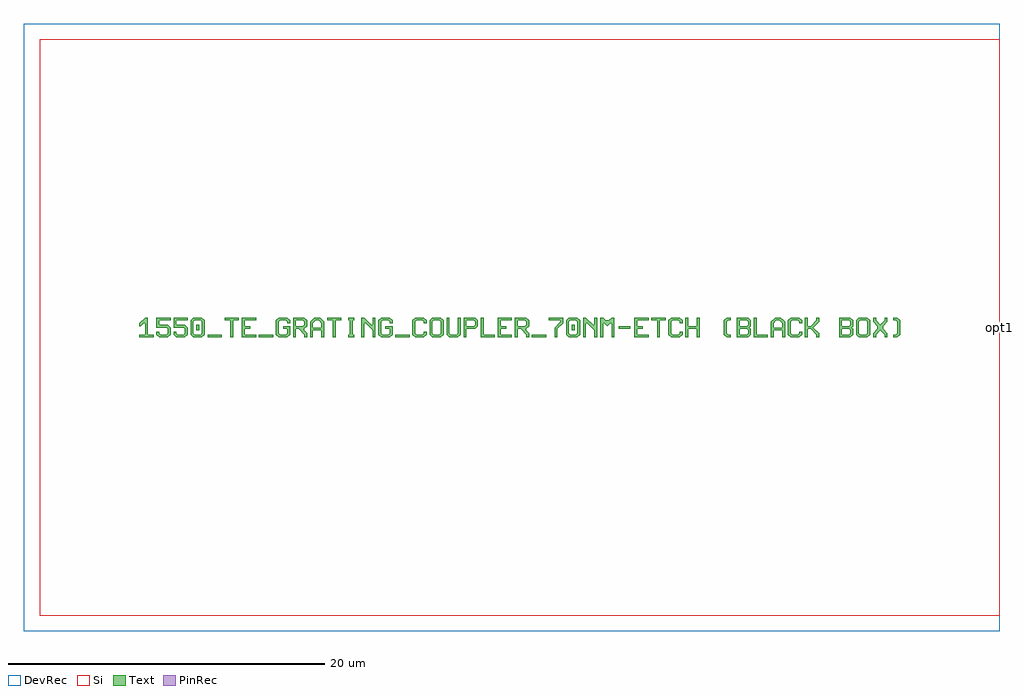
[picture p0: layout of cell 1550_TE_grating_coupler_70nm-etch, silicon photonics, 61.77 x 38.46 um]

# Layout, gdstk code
import gdstk
lib = gdstk.Library(unit=1e-6, precision=1e-09)
def R(c, l, rs):  # rectangles x0, y0, x1, y1
    for r in rs: c.add(gdstk.rectangle(r[:2], r[2:], *l))
def A(c, l, x, y, w, h, nx, ny, dx, dy):  # array of equal rectangles
    R(c, l, [(x+i*dx, y+j*dy, x+i*dx+w, y+j*dy+h) for i in range(nx) for j in range(ny)])
def P(c, l, *ps):  # polygons
    for p in ps: c.add(gdstk.Polygon(p, *l))
Si = (1, 0)
PinRec = (1, 10)
Text = (10, 0)
DevRec = (68, 0)

text = lib.new_cell('TEXT')
A(text, Text, 7.56, 0, 0.9, 0.18, 3, 1, 8.64, 0)
R(text, Text, [(4.32,0,5.22,0.18), (3.6,0.45,3.78,0.81), (27.36,0.45,27.54,0.81), (30.33,0.54,31.05,0.72)])
P(text, Text, [(0,0),(0,0.18),(0.36,0.18),(0.36,0.9),(0.27,0.9),(0.09,0.72),(0,0.72),(0,0.9),(0.36,1.26),(0.54,1.26),(0.54,0.18),(0.9,0.18),(0.9,0)],
  [(1.26,0),(1.08,0.18),(1.08,0.36),(1.26,0.36),(1.26,0.27),(1.35,0.18),(1.71,0.18),(1.8,0.27),(1.8,0.54),(1.71,0.63),(1.08,0.63),(1.08,1.26),(1.98,1.26),(1.98,1.08),(1.26,1.08),(1.26,0.81),(1.8,0.81),(1.98,0.63),(1.98,0.18),(1.8,0)],
  [(2.34,0),(2.16,0.18),(2.16,0.36),(2.34,0.36),(2.34,0.27),(2.43,0.18),(2.79,0.18),(2.88,0.27),(2.88,0.54),(2.79,0.63),(2.16,0.63),(2.16,1.26),(3.06,1.26),(3.06,1.08),(2.34,1.08),(2.34,0.81),(2.88,0.81),(3.06,0.63),(3.06,0.18),(2.88,0)],
  [(3.42,0),(3.24,0.18),(3.24,1.08),(3.42,1.26),(3.96,1.26),(4.14,1.08),(3.51,1.08),(3.42,0.99),(3.42,0.27),(3.51,0.18),(3.87,0.18),(3.96,0.27),(3.96,0.99),(3.87,1.08),(4.14,1.08),(4.14,0.18),(3.96,0)],
  [(5.76,0),(5.76,1.08),(5.4,1.08),(5.4,1.26),(6.3,1.26),(6.3,1.08),(5.94,1.08),(5.94,0)],
  [(6.48,0),(6.48,1.26),(7.38,1.26),(7.38,1.08),(6.66,1.08),(6.66,0.72),(7.02,0.72),(7.02,0.54),(6.66,0.54),(6.66,0.18),(7.38,0.18),(7.38,0)],
  [(8.82,0),(8.64,0.18),(8.64,1.08),(8.82,1.26),(9.36,1.26),(9.54,1.08),(9.54,0.9),(9.36,0.9),(9.36,0.99),(9.27,1.08),(8.91,1.08),(8.82,0.99),(8.82,0.27),(8.91,0.18),(9.27,0.18),(9.36,0.27),(9.36,0.54),(9.09,0.54),(9.09,0.72),(9.54,0.72),(9.54,0.18),(9.36,0)],
  [(9.72,0),(9.72,1.26),(10.44,1.26),(10.62,1.08),(9.9,1.08),(9.9,0.72),(10.35,0.72),(10.44,0.81),(10.44,0.99),(10.35,1.08),(10.62,1.08),(10.62,0.72),(10.44,0.54),(10.44,0.45),(10.62,0.27),(10.62,0),(10.44,0),(10.44,0.18),(10.08,0.54),(9.9,0.54),(9.9,0)],
  [(10.8,0),(10.8,0.99),(11.07,1.26),(11.43,1.26),(11.61,1.08),(11.16,1.08),(10.98,0.9),(10.98,0.63),(11.52,0.63),(11.52,0.9),(11.34,1.08),(11.61,1.08),(11.7,0.99),(11.7,0),(11.52,0),(11.52,0.45),(10.98,0.45),(10.98,0)],
  [(12.24,0),(12.24,1.08),(11.88,1.08),(11.88,1.26),(12.78,1.26),(12.78,1.08),(12.42,1.08),(12.42,0)],
  [(13.23,0),(13.23,0.18),(13.32,0.18),(13.32,1.08),(13.23,1.08),(13.23,1.26),(13.59,1.26),(13.59,1.08),(13.5,1.08),(13.5,0.18),(13.59,0.18),(13.59,0)],
  [(14.04,0),(14.04,1.26),(14.22,1.26),(14.67,0.81),(14.76,0.81),(14.76,1.26),(14.94,1.26),(14.94,0),(14.76,0),(14.76,0.45),(14.31,0.9),(14.22,0.9),(14.22,0)],
  [(15.3,0),(15.12,0.18),(15.12,1.08),(15.3,1.26),(15.84,1.26),(16.02,1.08),(16.02,0.9),(15.84,0.9),(15.84,0.99),(15.75,1.08),(15.39,1.08),(15.3,0.99),(15.3,0.27),(15.39,0.18),(15.75,0.18),(15.84,0.27),(15.84,0.54),(15.57,0.54),(15.57,0.72),(16.02,0.72),(16.02,0.18),(15.84,0)],
  [(17.46,0),(17.28,0.18),(17.28,1.08),(17.46,1.26),(18,1.26),(18.18,1.08),(18.18,0.9),(18,0.9),(18,0.99),(17.91,1.08),(17.55,1.08),(17.46,0.99),(17.46,0.27),(17.55,0.18),(17.91,0.18),(18,0.27),(18,0.36),(18.18,0.36),(18.18,0.18),(18,0)],
  [(18.54,0),(18.36,0.18),(18.36,1.08),(18.54,1.26),(19.08,1.26),(19.26,1.08),(19.26,0.63),(19.08,0.63),(19.08,0.99),(18.99,1.08),(18.63,1.08),(18.54,0.99),(18.54,0.27),(18.63,0.18),(18.99,0.18),(19.08,0.27),(19.08,0.63),(19.26,0.63),(19.26,0.18),(19.08,0)],
  [(19.62,0),(19.44,0.18),(19.44,1.26),(19.62,1.26),(19.62,0.27),(19.71,0.18),(20.07,0.18),(20.16,0.27),(20.16,1.26),(20.34,1.26),(20.34,0.18),(20.16,0)],
  [(20.52,0),(20.52,1.26),(21.24,1.26),(21.42,1.08),(21.42,0.72),(21.24,0.54),(20.7,0.54),(20.7,0.72),(21.15,0.72),(21.24,0.81),(21.24,0.99),(21.15,1.08),(20.7,1.08),(20.7,0)],
  [(21.6,0),(21.6,1.26),(21.78,1.26),(21.78,0.18),(22.5,0.18),(22.5,0)],
  [(22.68,0),(22.68,1.26),(23.58,1.26),(23.58,1.08),(22.86,1.08),(22.86,0.72),(23.22,0.72),(23.22,0.54),(22.86,0.54),(22.86,0.18),(23.58,0.18),(23.58,0)],
  [(23.76,0),(23.76,1.26),(24.48,1.26),(24.66,1.08),(23.94,1.08),(23.94,0.72),(24.39,0.72),(24.48,0.81),(24.48,0.99),(24.39,1.08),(24.66,1.08),(24.66,0.72),(24.48,0.54),(24.48,0.45),(24.66,0.27),(24.66,0),(24.48,0),(24.48,0.18),(24.12,0.54),(23.94,0.54),(23.94,0)],
  [(26.28,0),(26.28,0.63),(26.64,0.99),(26.64,1.08),(25.92,1.08),(25.92,1.26),(26.82,1.26),(26.82,0.9),(26.46,0.54),(26.46,0)],
  [(27.18,0),(27,0.18),(27,1.08),(27.18,1.26),(27.72,1.26),(27.9,1.08),(27.27,1.08),(27.18,0.99),(27.18,0.27),(27.27,0.18),(27.63,0.18),(27.72,0.27),(27.72,0.99),(27.63,1.08),(27.9,1.08),(27.9,0.18),(27.72,0)],
  [(28.08,0),(28.08,1.26),(28.26,1.26),(28.71,0.81),(28.8,0.81),(28.8,1.26),(28.98,1.26),(28.98,0),(28.8,0),(28.8,0.45),(28.35,0.9),(28.26,0.9),(28.26,0)],
  [(29.16,0),(29.16,1.26),(29.34,1.26),(29.52,1.08),(29.7,1.08),(29.88,1.26),(30.06,1.26),(30.06,0),(29.88,0),(29.88,0.9),(29.79,0.9),(29.61,0.72),(29.43,0.9),(29.34,0.9),(29.34,0)],
  [(31.32,0),(31.32,1.26),(32.22,1.26),(32.22,1.08),(31.5,1.08),(31.5,0.72),(31.86,0.72),(31.86,0.54),(31.5,0.54),(31.5,0.18),(32.22,0.18),(32.22,0)],
  [(32.76,0),(32.76,1.08),(32.4,1.08),(32.4,1.26),(33.3,1.26),(33.3,1.08),(32.94,1.08),(32.94,0)],
  [(33.66,0),(33.48,0.18),(33.48,1.08),(33.66,1.26),(34.2,1.26),(34.38,1.08),(34.38,0.9),(34.2,0.9),(34.2,0.99),(34.11,1.08),(33.75,1.08),(33.66,0.99),(33.66,0.27),(33.75,0.18),(34.11,0.18),(34.2,0.27),(34.2,0.36),(34.38,0.36),(34.38,0.18),(34.2,0)],
  [(34.56,0),(34.56,1.26),(34.74,1.26),(34.74,0.72),(35.28,0.72),(35.28,1.26),(35.46,1.26),(35.46,0),(35.28,0),(35.28,0.54),(34.74,0.54),(34.74,0)],
  [(37.17,0),(36.99,0.18),(36.99,1.08),(37.17,1.26),(37.44,1.26),(37.44,1.08),(37.26,1.08),(37.17,0.99),(37.17,0.27),(37.26,0.18),(37.44,0.18),(37.44,0)],
  [(37.8,0),(37.8,1.26),(38.52,1.26),(38.7,1.08),(37.98,1.08),(37.98,0.72),(38.43,0.72),(38.52,0.81),(38.52,0.99),(38.43,1.08),(38.7,1.08),(38.7,0.72),(38.61,0.63),(38.7,0.54),(37.98,0.54),(37.98,0.18),(38.43,0.18),(38.52,0.27),(38.52,0.45),(38.43,0.54),(38.7,0.54),(38.7,0.18),(38.52,0)],
  [(38.88,0),(38.88,1.26),(39.06,1.26),(39.06,0.18),(39.78,0.18),(39.78,0)],
  [(39.96,0),(39.96,0.99),(40.23,1.26),(40.59,1.26),(40.77,1.08),(40.32,1.08),(40.14,0.9),(40.14,0.63),(40.68,0.63),(40.68,0.9),(40.5,1.08),(40.77,1.08),(40.86,0.99),(40.86,0),(40.68,0),(40.68,0.45),(40.14,0.45),(40.14,0)],
  [(41.22,0),(41.04,0.18),(41.04,1.08),(41.22,1.26),(41.76,1.26),(41.94,1.08),(41.94,0.9),(41.76,0.9),(41.76,0.99),(41.67,1.08),(41.31,1.08),(41.22,0.99),(41.22,0.27),(41.31,0.18),(41.67,0.18),(41.76,0.27),(41.76,0.36),(41.94,0.36),(41.94,0.18),(41.76,0)],
  [(42.12,0),(42.12,1.26),(42.3,1.26),(42.3,0.72),(42.48,0.72),(42.84,1.08),(42.84,1.26),(43.02,1.26),(43.02,0.99),(42.66,0.63),(43.02,0.27),(43.02,0),(42.84,0),(42.84,0.18),(42.48,0.54),(42.3,0.54),(42.3,0)],
  [(44.28,0),(44.28,1.26),(45,1.26),(45.18,1.08),(44.46,1.08),(44.46,0.72),(44.91,0.72),(45,0.81),(45,0.99),(44.91,1.08),(45.18,1.08),(45.18,0.72),(45.09,0.63),(45.18,0.54),(44.46,0.54),(44.46,0.18),(44.91,0.18),(45,0.27),(45,0.45),(44.91,0.54),(45.18,0.54),(45.18,0.18),(45,0)],
  [(45.54,0),(45.36,0.18),(45.36,1.08),(45.54,1.26),(46.08,1.26),(46.26,1.08),(46.26,0.63),(46.08,0.63),(46.08,0.99),(45.99,1.08),(45.63,1.08),(45.54,0.99),(45.54,0.27),(45.63,0.18),(45.99,0.18),(46.08,0.27),(46.08,0.63),(46.26,0.63),(46.26,0.18),(46.08,0)],
  [(46.44,0),(46.44,0.27),(46.71,0.54),(46.71,0.72),(46.44,0.99),(46.44,1.26),(46.62,1.26),(46.62,1.08),(46.89,0.81),(47.16,1.08),(47.16,1.26),(47.34,1.26),(47.34,0.99),(47.07,0.72),(47.07,0.54),(47.34,0.27),(47.34,0),(47.16,0),(47.16,0.18),(46.89,0.45),(46.62,0.18),(46.62,0)],
  [(47.7,0),(47.7,0.18),(47.88,0.18),(47.97,0.27),(47.97,0.99),(47.88,1.08),(47.7,1.08),(47.7,1.26),(47.97,1.26),(48.15,1.08),(48.15,0.18),(47.97,0)])

c_1550_te_grating_coupler_ = lib.new_cell('1550_TE_grating_coupler_70nm-etch')
R(c_1550_te_grating_coupler_, Si, [(-31.341,-18.228,29.42,18.228)])
R(c_1550_te_grating_coupler_, DevRec, [(-32.341,-19.228,29.42,19.228)])
c_1550_te_grating_coupler_.add(gdstk.FlexPath([(29.41,0),(29.43,0)], 0.5, ends="flush", simple_path=True, layer=1, datatype=10))  # PinRec
c_1550_te_grating_coupler_.add(gdstk.Reference(text, (-25.036,-0.63)))
c_1550_te_grating_coupler_.add(gdstk.Label('opt1', (29.42,0), layer=1, texttype=10))

lib.write_gds('1550_TE_grating_coupler_70nm-etch.gds')
